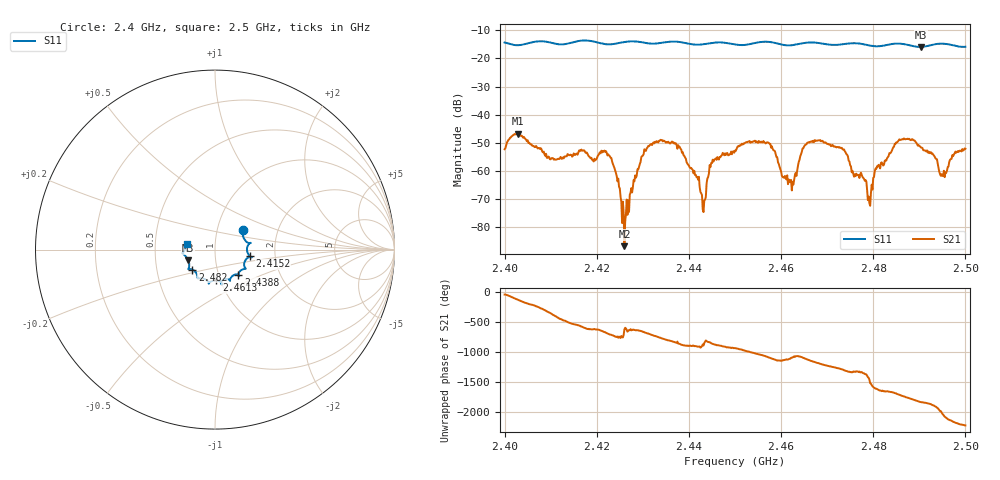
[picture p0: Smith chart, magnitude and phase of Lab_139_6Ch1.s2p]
# Hz S RI R 50
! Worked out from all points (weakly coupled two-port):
!   601 points, 2.4 GHz to 2.5 GHz, reference 50 ohm
!   highest |S21| = -46.83 dB at 2.4028 GHz (marker M1); lowest = -86.8 dB at 2.426 GHz (marker M2)
!   lowest |S11| = -15.9 dB at 2.4903 GHz (marker M3), VSWR 1.38, Z = 36.8 - j4.45 ohm
!   |S11| at or under -10 dB: start of sweep to end of sweep
!   S12 and S22 are empty: the file has one direction only
!   S11 on the Smith chart (normalised r, x): 2.4 GHz: 1.33, +0.31; 2.4152 GHz: 1.48, -0.11; 2.4388 GHz: 1.24, -0.36; 2.4613 GHz: 0.96, -0.34; 2.482 GHz: 0.76, -0.17; 2.5 GHz: 0.72, +0.05
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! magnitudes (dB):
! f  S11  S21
! 2.4 GHz  -14.3  -52.3
! 2.4028 GHz  -15.3  -46.8
! 2.4152 GHz  -14.1  -54.3
! 2.4167 GHz  -13.6  -52.5
! 2.4227 GHz  -15.0  -54.6
! 2.426 GHz  -14.1  -86.8
! 2.43 GHz  -14.3  -54.6
! 2.4333 GHz  -14.6  -49.9
! 2.4388 GHz  -14.4  -54.5
! 2.4432 GHz  -14.9  -74.7
! 2.445 GHz  -14.5  -57.2
! 2.45 GHz  -15.0  -52.8
! 2.4572 GHz  -14.1  -49.9
! 2.4613 GHz  -15.3  -61.6
! 2.4667 GHz  -14.3  -49.5
! 2.4735 GHz  -14.9  -52.4
! 2.4792 GHz  -15.4  -71.5
! 2.482 GHz  -15.5  -57.5
! 2.4833 GHz  -15.0  -54.7
! 2.4903 GHz  -15.9  -51.7
! 2.495 GHz  -14.7  -61.8
! 2.5 GHz  -15.8  -52.1
